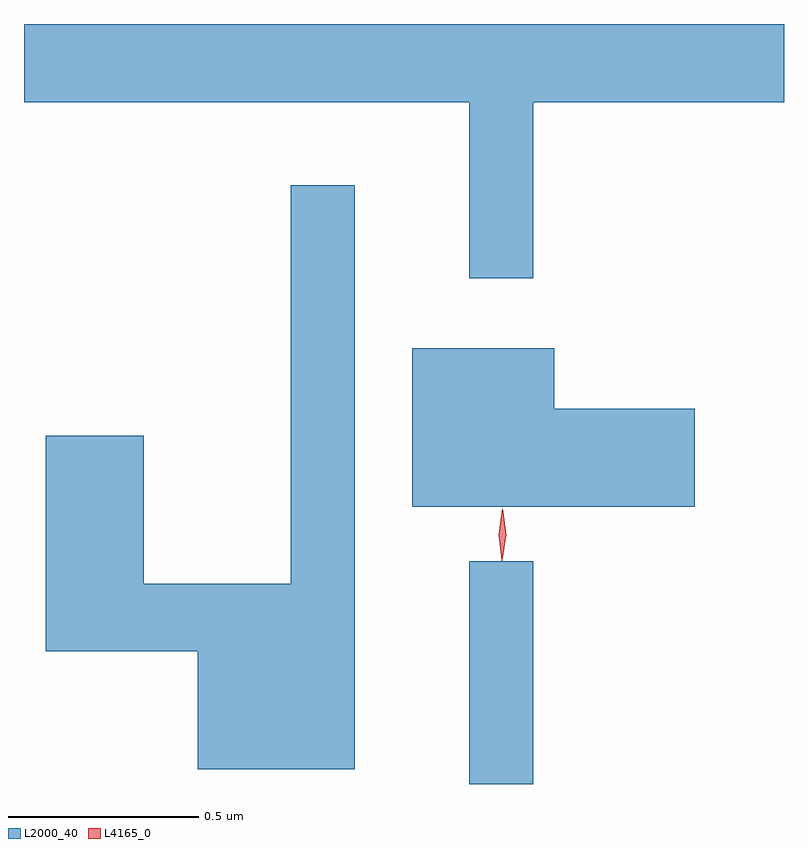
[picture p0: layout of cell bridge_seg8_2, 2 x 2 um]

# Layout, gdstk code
import gdstk
lib = gdstk.Library(unit=1e-6, precision=1e-09)
def R(c, l, rs):  # rectangles x0, y0, x1, y1
    for r in rs: c.add(gdstk.rectangle(r[:2], r[2:], *l))
def P(c, l, *ps):  # polygons
    for p in ps: c.add(gdstk.Polygon(p, *l))
L2000_40 = (2000, 40)
L4165_0 = (4165, 0)

bridge_seg8_2 = lib.new_cell('bridge_seg8_2')
R(bridge_seg8_2, L2000_40, [(1688.611,1910.102,1688.779,1910.688)])
P(bridge_seg8_2, L2000_40, [(1688.779,1911.896),(1689.439,1911.896),(1689.439,1912.102),(1687.439,1912.102),(1687.439,1911.896),(1688.611,1911.896),(1688.611,1911.433),(1688.779,1911.433)],
  [(1688.309,1911.678),(1688.141,1911.678),(1688.141,1910.629),(1687.754,1910.629),(1687.754,1911.019),(1687.496,1911.019),(1687.496,1910.451),(1687.896,1910.451),(1687.896,1910.141),(1688.309,1910.141)],
  [(1689.204,1911.089),(1688.834,1911.089),(1688.834,1911.249),(1688.461,1911.249),(1688.461,1910.831),(1689.204,1910.831)])
P(bridge_seg8_2, L4165_0, [(1688.696,1910.69),(1688.688,1910.758),(1688.698,1910.826),(1688.698,1910.826),(1688.699,1910.826),(1688.708,1910.758),(1688.697,1910.69),(1688.697,1910.69)],
  [(1688.697,1910.693),(1688.696,1910.694),(1688.688,1910.757),(1688.699,1910.819),(1688.699,1910.82),(1688.7,1910.819),(1688.708,1910.756),(1688.697,1910.694)])

lib.write_gds('bridge_seg8_2.gds')
